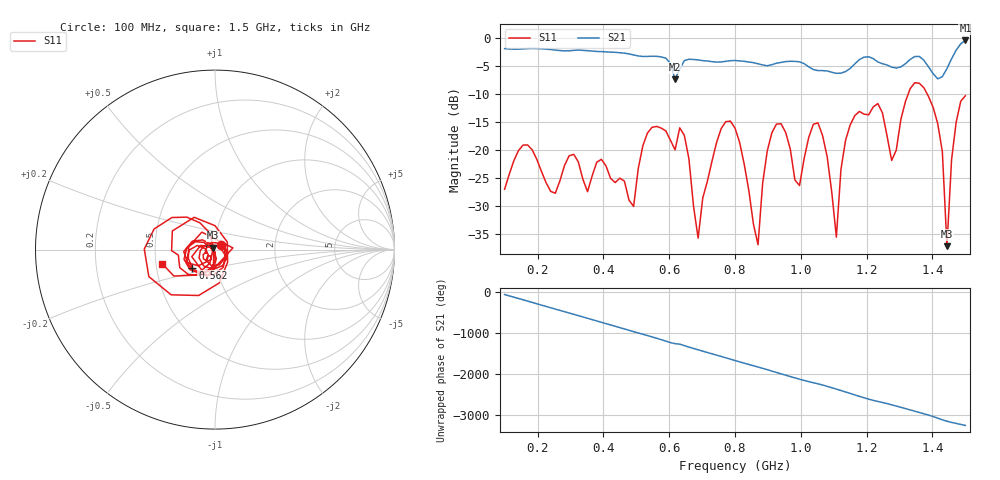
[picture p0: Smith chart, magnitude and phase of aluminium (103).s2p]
! NanoVNA-App
! Date: 2025-09-25 14:56:04
! Start: 100MHz Stop: 1,5GHz Points: 101
! S-Parameter data: F S11 S21 S12 S22
# Hz S RI R 50
!  Frequency  S11_Real  S11_Imag  S21_Real  S21_Imag  S12_Real  S12_Imag  S22_Real  S22_Imag
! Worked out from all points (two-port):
!   101 points, 100 MHz to 1.5 GHz, reference 50 ohm
!   highest |S21| = -0.46 dB at 1.5 GHz (marker M1); lowest = -7.4 dB at 618 MHz (marker M2)
!   |S21| within 3 dB of the highest: start of sweep to 580 MHz; 1.46 GHz to end of sweep (the widest 2 of 4)
!   lowest |S11| = -37.2 dB at 1.444 GHz (marker M3), VSWR 1.03, Z = 49.1 + j1 ohm
!   |S11| at or under -10 dB: start of sweep to 1.326 GHz; 1.384 GHz to end of sweep
!   S12 and S22 are empty: the file has one direction only
!   S11 on the Smith chart (normalised r, x): 100 MHz: 1.07, +0.06; 562 MHz: 0.76, -0.16; 1.5 GHz: 0.54, -0.09
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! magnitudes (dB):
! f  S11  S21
! 100 MHz  -27.0  -1.9
! 156 MHz  -19.1  -2.0
! 338 MHz  -25.3  -2.2
! 492 MHz  -30.1  -3.0
! 562 MHz  -15.8  -3.3
! 576 MHz  -16.1  -3.4
! 618 MHz  -20.0  -7.4
! 646 MHz  -17.4  -4.1
! 688 MHz  -35.7  -3.9
! 800 MHz  -16.1  -4.0
! 870 MHz  -36.9  -4.6
! 912 MHz  -16.9  -4.8
! 996 MHz  -26.3  -4.3
! 1.038 GHz  -15.4  -5.6
! 1.108 GHz  -35.5  -6.3
! 1.164 GHz  -13.9  -4.6
! 1.276 GHz  -21.9  -5.2
! 1.374 GHz  -8.9  -4.0
! 1.43 GHz  -20.3  -6.9
! 1.444 GHz  -37.2  -5.5
! 1.472 GHz  -15.0  -2.2
! 1.5 GHz  -10.3  -0.5
